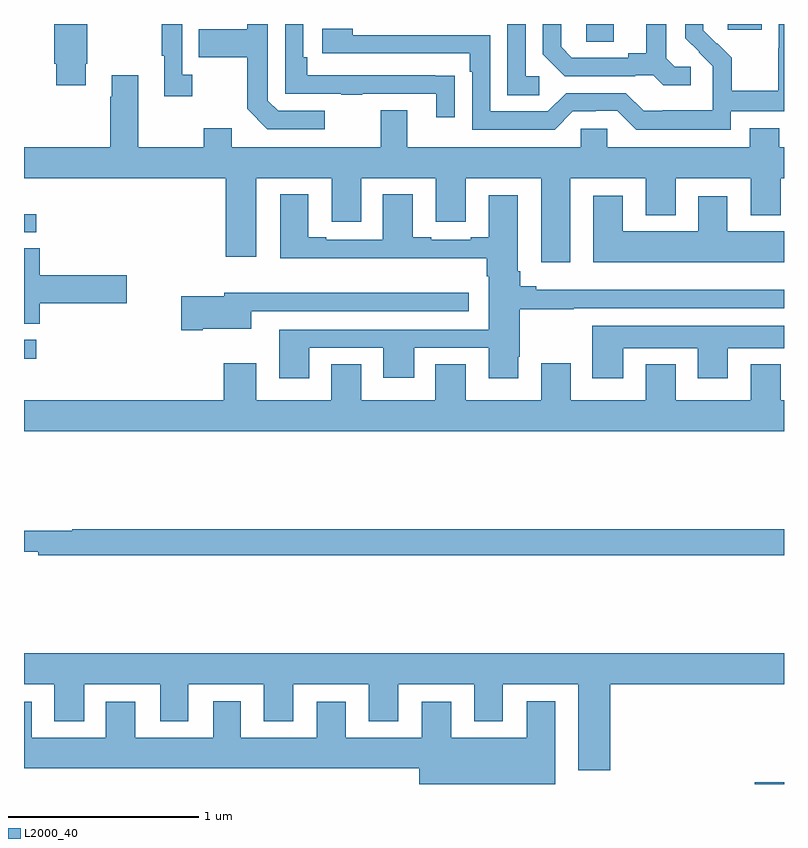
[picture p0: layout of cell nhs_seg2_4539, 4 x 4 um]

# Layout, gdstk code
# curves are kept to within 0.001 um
import gdstk
lib = gdstk.Library(unit=1e-6, precision=1e-09)
def R(c, l, rs):  # rectangles x0, y0, x1, y1
    for r in rs: c.add(gdstk.rectangle(r[:2], r[2:], *l))
def P(c, l, *ps):  # polygons
    for p in ps: c.add(gdstk.Polygon(p, *l))
L2000_40 = (2000, 40)

nhs_seg2_4539 = lib.new_cell('nhs_seg2_4539')
R(nhs_seg2_4539, L2000_40, [(360.845,625.8,361,625.808), (357,628.039,357.064,628.137), (357,628.704,357.064,628.8), (359.958,629.707,360.103,629.8), (360.704,629.769,360.883,629.8)])
P(nhs_seg2_4539, L2000_40, [(357.886,629.534),(357.834,629.534),(357.834,629.8),(357.726,629.8),(357.726,629.633),(357.737,629.633),(357.737,629.421),(357.886,629.421)],
  [(359.713,629.526),(359.64,629.526),(359.64,629.8),(359.544,629.8),(359.544,629.425),(359.713,629.425)],
  [(359.267,629.528),(359.165,629.528),(359.165,629.529),(358.49,629.529),(358.49,629.626),(358.47,629.626),(358.47,629.8),(358.374,629.8),(358.374,629.433),(358.669,629.433),(358.669,629.428),(358.781,629.428),(358.781,629.433),(359.171,629.433),(359.171,629.31),(359.267,629.31)],
  [(357.325,629.59),(357.333,629.59),(357.333,629.8),(357.158,629.8),(357.158,629.59),(357.17,629.59),(357.17,629.478),(357.325,629.478)],
  [(360.72,629.34),(361,629.34),(361,629.8),(360.972,629.8),(360.972,629.672),(360.97,629.672),(360.97,629.449),(360.725,629.449),(360.725,629.623),(360.648,629.7),(360.645,629.697),(360.575,629.768),(360.575,629.8),(360.48,629.8),(360.48,629.726),(360.626,629.578),(360.626,629.481),(360.624,629.481),(360.624,629.347),(360.361,629.347),(360.361,629.343),(360.261,629.343),(360.168,629.436),(359.853,629.436),(359.757,629.34),(359.454,629.34),(359.454,629.742),(358.73,629.742),(358.73,629.776),(358.569,629.776),(358.569,629.646),(359.345,629.646),(359.345,629.549),(359.358,629.549),(359.358,629.244),(359.793,629.244),(359.889,629.34),(360.008,629.34),(360.008,629.343),(360.123,629.343),(360.223,629.243),(360.72,629.243)],
  [(358.582,629.343),(358.338,629.343),(358.284,629.397),(358.284,629.8),(358.176,629.8),(358.176,629.773),(357.919,629.773),(357.919,629.626),(358.176,629.626),(358.176,629.353),(358.281,629.247),(358.582,629.247)],
  [(360.508,629.574),(360.426,629.574),(360.379,629.621),(360.379,629.8),(360.275,629.8),(360.275,629.645),(360.179,629.645),(360.179,629.622),(359.884,629.622),(359.827,629.679),(359.827,629.8),(359.73,629.8),(359.73,629.642),(359.846,629.526),(360.218,629.526),(360.218,629.529),(360.312,629.529),(360.364,629.477),(360.508,629.477)],
  [(358.061,628.575),(358.222,628.575),(358.222,628.988),(358.619,628.988),(358.619,628.758),(358.774,628.758),(358.774,628.988),(359.168,628.988),(359.168,628.758),(359.326,628.758),(359.326,628.988),(359.723,628.988),(359.723,628.545),(359.875,628.545),(359.875,628.988),(360.272,628.988),(360.272,628.794),(360.43,628.794),(360.43,628.988),(360.824,628.988),(360.824,628.794),(360.982,628.794),(360.982,628.988),(361,628.988),(361,629.152),(360.974,629.152),(360.974,629.251),(360.821,629.251),(360.821,629.152),(360.069,629.152),(360.069,629.25),(359.931,629.25),(359.931,629.152),(359.017,629.152),(359.017,629.347),(358.877,629.347),(358.877,629.152),(358.093,629.152),(358.093,629.251),(357.946,629.251),(357.946,629.152),(357.601,629.152),(357.601,629.53),(357.461,629.53),(357.461,629.417),(357.454,629.417),(357.454,629.152),(357,629.152),(357,628.988),(358.061,628.988)],
  [(358.501,628.095),(358.892,628.095),(358.892,627.939),(359.053,627.939),(359.053,628.095),(359.447,628.095),(359.447,627.936),(359.602,627.936),(359.602,628.048),(359.61,628.048),(359.61,628.3),(359.894,628.3),(359.894,628.305),(361,628.305),(361,628.402),(359.695,628.402),(359.695,628.421),(359.612,628.421),(359.612,628.498),(359.599,628.498),(359.599,628.9),(359.447,628.9),(359.447,628.678),(359.351,628.678),(359.351,628.665),(359.143,628.665),(359.143,628.678),(359.047,628.678),(359.047,628.903),(358.889,628.903),(358.889,628.665),(358.591,628.665),(358.591,628.678),(358.495,628.678),(358.495,628.903),(358.349,628.903),(358.349,628.568),(359.435,628.568),(359.435,628.472),(359.447,628.472),(359.447,628.191),(358.343,628.191),(358.343,627.936),(358.501,627.936)],
  [(361,628.708),(360.7,628.708),(360.7,628.894),(360.548,628.894),(360.548,628.708),(360.151,628.708),(360.151,628.897),(359.996,628.897),(359.996,628.547),(361,628.547)],
  [(357.083,628.331),(357.541,628.331),(357.541,628.478),(357.083,628.478),(357.083,628.619),(357,628.619),(357,628.222),(357.083,628.222)],
  [(357.94,628.196),(358.195,628.196),(358.195,628.287),(359.341,628.287),(359.341,628.385),(358.055,628.385),(358.055,628.367),(357.828,628.367),(357.828,628.189),(357.94,628.189)],
  [(360.154,628.094),(360.545,628.094),(360.545,627.936),(360.703,627.936),(360.703,628.094),(361,628.094),(361,628.213),(359.99,628.213),(359.99,627.936),(360.154,627.936)],
  [(361,627.82),(360.982,627.82),(360.982,628.009),(360.824,628.009),(360.824,627.82),(360.43,627.82),(360.43,628.009),(360.272,628.009),(360.272,627.82),(359.878,627.82),(359.878,628.015),(359.723,628.015),(359.723,627.82),(359.326,627.82),(359.326,628.01),(359.165,628.01),(359.165,627.82),(358.774,627.82),(358.774,628.01),(358.616,628.01),(358.616,627.82),(358.222,627.82),(358.222,628.015),(358.052,628.015),(358.052,627.82),(357,627.82),(357,627.656),(361,627.656)],
  [(361,627.14),(357.254,627.14),(357.254,627.133),(357,627.133),(357,627.023),(357.076,627.023),(357.076,627.004),(361,627.004)],
  [(360.086,626.324),(361,626.324),(361,626.488),(357,626.488),(357,626.324),(357.158,626.324),(357.158,626.13),(357.316,626.13),(357.316,626.324),(357.716,626.324),(357.716,626.13),(357.865,626.13),(357.865,626.324),(358.262,626.324),(358.262,626.13),(358.417,626.13),(358.417,626.324),(358.814,626.324),(358.814,626.13),(358.969,626.13),(358.969,626.324),(359.369,626.324),(359.369,626.13),(359.521,626.13),(359.521,626.324),(359.918,626.324),(359.918,625.872),(360.086,625.872)],
  [(359.797,626.236),(359.645,626.236),(359.645,626.044),(359.248,626.044),(359.248,626.233),(359.093,626.233),(359.093,626.044),(358.693,626.044),(358.693,626.233),(358.541,626.233),(358.541,626.044),(358.141,626.044),(358.141,626.236),(357.995,626.236),(357.995,626.044),(357.586,626.044),(357.586,626.233),(357.431,626.233),(357.431,626.044),(357.04,626.044),(357.04,626.233),(357,626.233),(357,625.883),(359.081,625.883),(359.081,625.8),(359.797,625.8)])

lib.write_gds('nhs_seg2_4539.gds')
